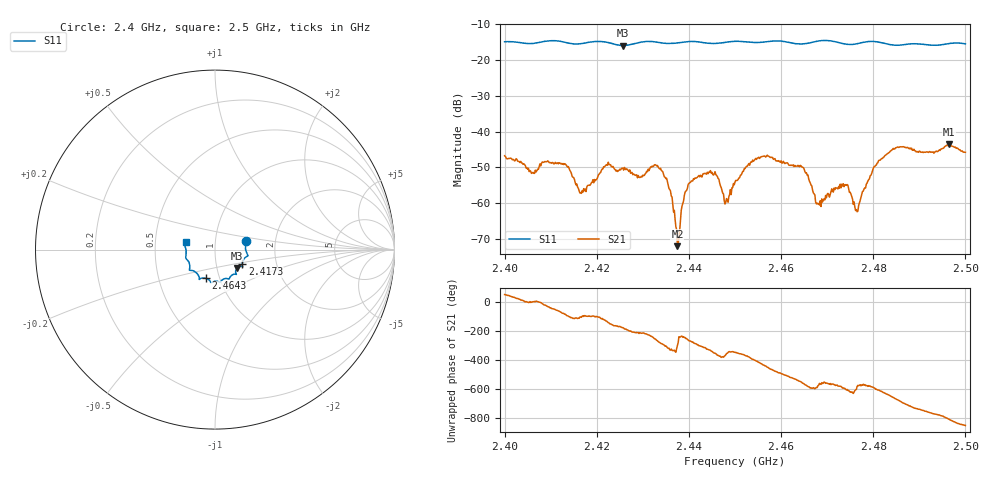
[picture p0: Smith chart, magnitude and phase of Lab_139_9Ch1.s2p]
# Hz S RI R 50
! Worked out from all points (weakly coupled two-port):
!   601 points, 2.4 GHz to 2.5 GHz, reference 50 ohm
!   highest |S21| = -43.58 dB at 2.4965 GHz (marker M1); lowest = -72.1 dB at 2.4375 GHz (marker M2)
!   lowest |S11| = -15.9 dB at 2.4257 GHz (marker M3), VSWR 1.38, Z = 62.4 - j13.1 ohm
!   |S11| at or under -10 dB: start of sweep to end of sweep
!   S12 and S22 are empty: the file has one direction only
!   S11 on the Smith chart (normalised r, x): 2.4 GHz: 1.41, +0.14; 2.4173 GHz: 1.34, -0.23; 2.4643 GHz: 0.86, -0.28; 2.5 GHz: 0.72, +0.06
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2.4e9  0.1735 0.0493  0.00275 0.00366  0 0  0 0
2.412833e9  0.1747 -0.0398  0.000713 -0.00337  0 0  0 0
2.416667e9  0.1524 -0.075  -0.000346 -0.00132  0 0  0 0
2.417333e9  0.1518 -0.0824  -7.76e-05 -0.00148  0 0  0 0
2.422e9  0.1518 -0.0942  -0.00219 -0.00259  0 0  0 0
2.425667e9  0.1225 -0.1026  -0.00307 -0.000193  0 0  0 0
2.433333e9  0.1125 -0.1366  0.000171 0.00321  0 0  0 0
2.435667e9  0.0964 -0.141  0.0012 0.00105  0 0  0 0
2.4375e9  0.0848 -0.1516  0.000132 0.00021  0 0  0 0
2.4405e9  0.0791 -0.1643  9.31e-05 0.00203  0 0  0 0
2.445167e9  0.0538 -0.162  0.00243 0.000631  0 0  0 0
2.448167e9  0.0343 -0.1747  0.00115 7.79e-05  0 0  0 0
2.45e9  0.0294 -0.1807  0.00191 0.000443  0 0  0 0
2.456e9  -0.00687 -0.1778  0.00126 -0.0043  0 0  0 0
2.464333e9  -0.0501 -0.1603  -0.00322 0.000741  0 0  0 0
2.466667e9  -0.0763 -0.1594  -0.000951 0.00145  0 0  0 0
2.468167e9  -0.0854 -0.1644  -0.000807 0.000565  0 0  0 0
2.474e9  -0.0976 -0.1361  -0.0008 0.00162  0 0  0 0
2.4765e9  -0.122 -0.1177  -0.000537 0.00053  0 0  0 0
2.483333e9  -0.1402 -0.0895  0.00113 0.0049  0 0  0 0
2.4965e9  -0.1689 0.0235  -0.000296 -0.00662  0 0  0 0
2.5e9  -0.1635 0.0418  -0.00361 -0.00363  0 0  0 0
